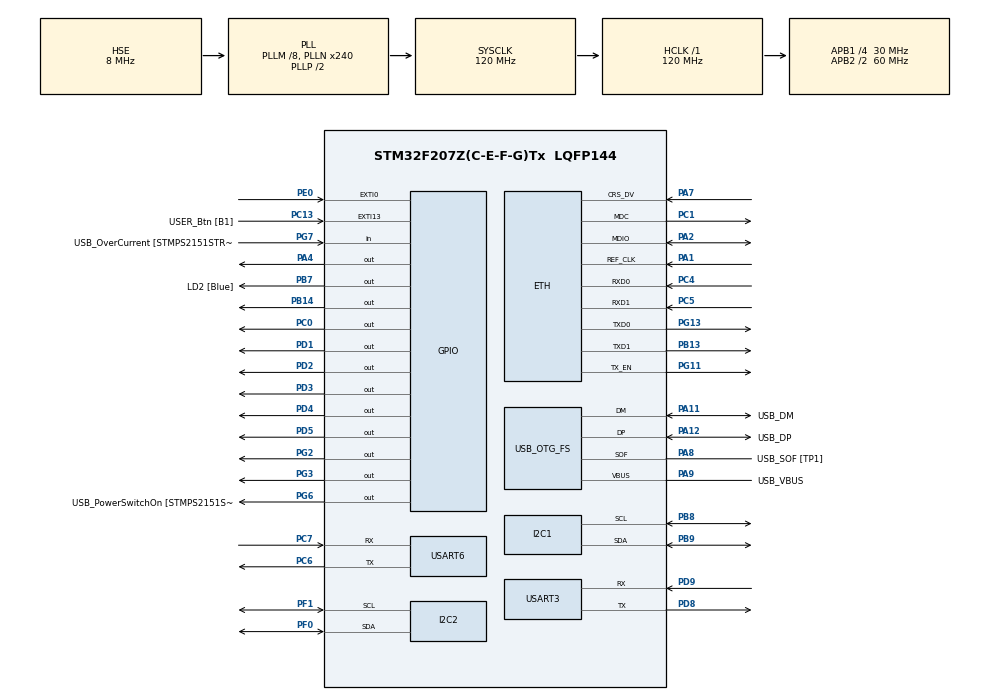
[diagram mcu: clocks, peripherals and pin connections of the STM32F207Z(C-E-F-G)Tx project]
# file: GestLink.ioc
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ETH.MediaInterface=ETH_MEDIA_INTERFACE_RMII
ETH.PhyAddress=0
FREERTOS.Queues01=gestureQueue,10,uint8_t,0,Dynamic,NULL,NULL
FREERTOS.Tasks01=defaultTask,24,128,StartDefaultTask,Default,NULL,Dynamic,NULL,NULL;GestureTask,32,128,StartGestureTask,Default,NULL,Dynamic,NULL,NULL;FeedbackTask,24,512,StartFeedbackTask,Default,NULL,Dynamic,NULL,NULL;ModbusTask,24,128,StartModbusTask,Default,NULL,Dynamic,NULL,NULL;MQTTTask,24,128,StartMQTTTask,Default,NULL,Dynamic,NULL,NULL
FREERTOS.configUSE_NEWLIB_REENTRANT=1
LWIP.GATEWAY_ADDRESS=192.168.002.001
LWIP.IP_ADDRESS=192.168.002.002
LWIP.LWIP_DHCP=1
LWIP.NETMASK_ADDRESS=255.255.255.000
LWIP.RTOS_USE_NEWLIB_REENTRANT=FREERTOS$context\:USE_NEWLIB_REENTRANT
LWIP.Version=v2.0.3_Cube
Mcu.Family=STM32F2
Mcu.Name=STM32F207Z(C-E-F-G)Tx
Mcu.Package=LQFP144
NVIC.ETH_IRQn=true\:7\:0\:true\:false\:true\:true\:true\:true\:true
NVIC.I2C2_ER_IRQn=true\:5\:0\:false\:false\:true\:true\:true\:true\:true
NVIC.PriorityGroup=NVIC_PRIORITYGROUP_4
NVIC.TIM1_UP_TIM10_IRQn=true\:15\:0\:false\:false\:true\:false\:false\:true\:true
NVIC.TimeBase=TIM1_UP_TIM10_IRQn
NVIC.TimeBaseIP=TIM1
NVIC.USART6_IRQn=true\:5\:0\:false\:false\:true\:true\:true\:true\:true
PA1.GPIO_Mode=GPIO_MODE_AF_PP
PA1.GPIO_PuPd=GPIO_NOPULL
PA1.GPIO_Speed=GPIO_SPEED_FREQ_VERY_HIGH
PA1.Mode=RMII
PA1.Signal=ETH_REF_CLK
PA10.GPIO_Label=USB_ID
PA10.Signal=USB_OTG_FS_ID
PA11.GPIO_Label=USB_DM
PA11.Mode=Device_Only
PA11.Signal=USB_OTG_FS_DM
PA12.GPIO_Label=USB_DP
PA12.Mode=Device_Only
PA12.Signal=USB_OTG_FS_DP
PA13.GPIO_Label=TMS
PA13.Mode=Serial_Wire
PA13.Signal=SYS_JTMS-SWDIO
PA14.GPIO_Label=TCK
PA14.Mode=Serial_Wire
PA14.Signal=SYS_JTCK-SWCLK
PA2.GPIO_Mode=GPIO_MODE_AF_PP
PA2.GPIO_PuPd=GPIO_NOPULL
PA2.GPIO_Speed=GPIO_SPEED_FREQ_VERY_HIGH
PA2.Mode=RMII
PA2.Signal=ETH_MDIO
PA3.Signal=ETH_COL
PA4.Signal=GPIO_Output
PA7.GPIO_Mode=GPIO_MODE_AF_PP
PA7.GPIO_PuPd=GPIO_NOPULL
PA7.GPIO_Speed=GPIO_SPEED_FREQ_VERY_HIGH
PA7.Mode=RMII
PA7.Signal=ETH_CRS_DV
PA8.GPIO_Label=USB_SOF [TP1]
PA8.Mode=Activate_SOF_FS
PA8.Signal=USB_OTG_FS_SOF
PA9.GPIO_Label=USB_VBUS
PA9.Mode=Activate_VBUS
PA9.Signal=USB_OTG_FS_VBUS
PB13.GPIO_Mode=GPIO_MODE_AF_PP
PB13.GPIO_PuPd=GPIO_NOPULL
PB13.GPIO_Speed=GPIO_SPEED_FREQ_VERY_HIGH
PB13.Mode=RMII
PB13.Signal=ETH_TXD1
PB14.Signal=GPIO_Output
PB3.GPIO_Label=SWO
PB3.Signal=SYS_JTDO-SWO
PB7.GPIO_Label=LD2 [Blue]
PB7.Signal=GPIO_Output
PB8.GPIO_Mode=GPIO_MODE_AF_OD
PB8.GPIO_Pu=GPIO_PULLUP
PB8.GPIO_Speed=GPIO_SPEED_FREQ_VERY_HIGH
PB8.Mode=I2C
PB8.Signal=I2C1_SCL
PB9.GPIO_Pu=GPIO_PULLUP
PB9.Mode=I2C
PB9.Signal=I2C1_SDA
PC0.Signal=GPIO_Output
PC1.GPIO_Mode=GPIO_MODE_AF_PP
PC1.GPIO_PuPd=GPIO_NOPULL
PC1.GPIO_Speed=GPIO_SPEED_FREQ_VERY_HIGH
PC1.Mode=RMII
PC1.Signal=ETH_MDC
PC13.GPIO_Label=USER_Btn [B1]
PC13.Signal=GPXTI13
PC14-OSC32_IN.Mode=LSE-External-Oscillator
PC14-OSC32_IN.Signal=RCC_OSC32_IN
PC15-OSC32_OUT.Mode=LSE-External-Oscillator
PC15-OSC32_OUT.Signal=RCC_OSC32_OUT
PC2.Signal=ETH_TXD2
PC3.Signal=ETH_TX_CLK
PC4.GPIO_Mode=GPIO_MODE_AF_PP
PC4.GPIO_PuPd=GPIO_NOPULL
PC4.GPIO_Speed=GPIO_SPEED_FREQ_VERY_HIGH
PC4.Mode=RMII
PC4.Signal=ETH_RXD0
PC5.GPIO_Mode=GPIO_MODE_AF_PP
PC5.GPIO_PuPd=GPIO_NOPULL
PC5.GPIO_Speed=GPIO_SPEED_FREQ_VERY_HIGH
PC5.Mode=RMII
PC5.Signal=ETH_RXD1
PC6.Mode=Asynchronous
PC6.Signal=USART6_TX
PC7.Mode=Asynchronous
PC7.Signal=USART6_RX
PD1.Signal=GPIO_Output
PD2.Signal=GPIO_Output
PD3.Signal=GPIO_Output
PD4.Signal=GPIO_Output
PD5.Signal=GPIO_Output
PD8.GPIO_ModeDefaultPP=GPIO_MODE_AF_PP
PD8.GPIO_PuPd=GPIO_NOPULL
PD8.GPIO_Speed=GPIO_SPEED_FREQ_VERY_HIGH
PD8.Mode=Asynchronous
PD8.Signal=USART3_TX
PD9.GPIO_ModeDefaultPP=GPIO_MODE_AF_PP
PD9.GPIO_PuPd=GPIO_NOPULL
PD9.GPIO_Speed=GPIO_SPEED_FREQ_VERY_HIGH
PD9.Mode=Asynchronous
PD9.Signal=USART3_RX
PE0.GPIO_ModeDefaultEXTI=GPIO_MODE_IT_FALLING
PE0.Signal=GPXTI0
PF0.Mode=I2C
PF0.Signal=I2C2_SDA
PF1.Mode=I2C
PF1.Signal=I2C2_SCL
PG11.GPIO_Mode=GPIO_MODE_AF_PP
PG11.GPIO_PuPd=GPIO_NOPULL
PG11.GPIO_Speed=GPIO_SPEED_FREQ_VERY_HIGH
PG11.Mode=RMII
PG11.Signal=ETH_TX_EN
PG13.GPIO_Mode=GPIO_MODE_AF_PP
PG13.GPIO_PuPd=GPIO_NOPULL
PG13.GPIO_Speed=GPIO_SPEED_FREQ_VERY_HIGH
PG13.Mode=RMII
PG13.Signal=ETH_TXD0
PG2.Signal=GPIO_Output
PG3.Signal=GPIO_Output
PG6.GPIO_Label=USB_PowerSwitchOn [STMPS2151STR_EN]
PG6.Signal=GPIO_Output
PG7.GPIO_Label=USB_OverCurrent [STMPS2151STR_FAULT]
PG7.Signal=GPIO_Input
PH0-OSC_IN.GPIO_Label=MCO [STM32F103CBT6_PA8]
PH0-OSC_IN.Mode=HSE-External-Clock-Source
PH0-OSC_IN.Signal=RCC_OSC_IN
PH1-OSC_OUT.Mode=HSE-External-Clock-Source
PH1-OSC_OUT.Signal=RCC_OSC_OUT
ProjectManager.HeapSize=0x200
ProjectManager.StackSize=0x400
ProjectManager.TargetToolchain=STM32CubeIDE
RCC.48MHZClocksFreq_Value=48000000
RCC.AHBFreq_Value=120000000
RCC.APB1CLKDivider=RCC_HCLK_DIV4
RCC.APB1Freq_Value=30000000
RCC.APB1TimFreq_Value=60000000
RCC.APB2CLKDivider=RCC_HCLK_DIV2
RCC.APB2Freq_Value=60000000
RCC.APB2TimFreq_Value=120000000
RCC.CortexFreq_Value=120000000
RCC.HCLKFreq_Value=120000000
RCC.HSE_VALUE=8000000
RCC.HSI_VALUE=16000000
RCC.PLLM=8
RCC.PLLMUL=RCC_PLL_MUL9
RCC.PLLN=240
RCC.PLLQ=5
RCC.PLLSourceVirtual=RCC_PLLSOURCE_HSE
RCC.PRESCALERUSB=RCC_USBCLKSOURCE_PLL_DIV1_5
RCC.SYSCLKFreq_VALUE=120000000
RCC.SYSCLKSource=RCC_SYSCLKSOURCE_PLLCLK
RCC.SYSCLKSourceVirtual=RCC_SYSCLKSOURCE_PLLCLK
RCC.USBFreq_Value=48000000
RCC.VCOOutputFreq_Value=240000000
USART3.VirtualMode=VM_ASYNC
USART6.VirtualMode=VM_ASYNC
USB_OTG_FS.VirtualMode=Device_Only
VP_FREERTOS_VS_CMSIS_V2.Mode=CMSIS_V2
VP_LWIP_VS_Enabled.Mode=Enabled
VP_SYS_VS_tim1.Mode=TIM1
board=NUCLEO-F207ZG

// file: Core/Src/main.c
/* USER CODE BEGIN Header */
/**
  ******************************************************************************
  * @file           : main.c
  * @brief          : Main program body
  ******************************************************************************
  * @attention
  *
  * Copyright (c) 2025 STMicroelectronics.
  * All rights reserved.
  *
  * This software is licensed under terms that can be found in the LICENSE file
  * in the root directory of this software component.
  * If no LICENSE file comes with this software, it is provided AS-IS.
  *
  ******************************************************************************
  */
/* USER CODE END Header */
#include "main.h"
#include "cmsis_os.h"
#include "lwip.h"

/* USER CODE BEGIN Includes */
#include<stdio.h>
#include "gesture_utility.h"
#include "paj7660.h"
#include "paj7660_thumb.h"
#include "tcp_echo_server.h"
#include "debug_macros.h"
#include "modbus_rtu.h"
#include "mqtt_transport.h"
#include "lwip/sockets.h"
#include "lwip/netif.h"
/* USER CODE END Includes */

I2C_HandleTypeDef hi2c1;
I2C_HandleTypeDef hi2c2;

UART_HandleTypeDef huart3;
UART_HandleTypeDef huart6;

PCD_HandleTypeDef hpcd_USB_OTG_FS;

/* Definitions for defaultTask */
osThreadId_t defaultTaskHandle;
const osThreadAttr_t defaultTask_attributes = {
  .name = "defaultTask",
  .stack_size = 512 * 4,
  .priority = (osPriority_t) osPriorityNormal,
};
/* Definitions for GestureTask */
osThreadId_t GestureTaskHandle;
const osThreadAttr_t GestureTask_attributes = {
  .name = "GestureTask",
  .stack_size = 128 * 4,
  .priority = (osPriority_t) osPriorityAboveNormal,
};
/* Definitions for FeedbackTask */
osThreadId_t FeedbackTaskHandle;
const osThreadAttr_t FeedbackTask_attributes = {
  .name = "FeedbackTask",
  .stack_size = 512 * 4,
  .priority = (osPriority_t) osPriorityNormal,
};
/* Definitions for ModbusTask */
osThreadId_t ModbusTaskHandle;
const osThreadAttr_t ModbusTask_attributes = {
  .name = "ModbusTask",
  .stack_size = 128 * 4,
  .priority = (osPriority_t) osPriorityNormal,
};
/* Definitions for MQTTTask */
osThreadId_t MQTTTaskHandle;
const osThreadAttr_t MQTTTask_attributes = {
  .name = "MQTTTask",
  .stack_size = 512 * 4,
  .priority = (osPriority_t) osPriorityNormal,
};
/* Definitions for gestureQueue */
osMessageQueueId_t gestureQueueHandle;
const osMessageQueueAttr_t gestureQueue_attributes = {
  .name = "gestureQueue"
};
/* USER CODE BEGIN PV */
osMessageQueueId_t modbusQueueHandle;
osMessageQueueId_t mqttQueueHandle;
extern struct netif gnetif;
/* USER CODE END PV */

void SystemClock_Config(void);
static void MX_GPIO_Init(void);
static void MX_USART3_UART_Init(void);
static void MX_USB_OTG_FS_PCD_Init(void);
static void MX_I2C1_Init(void);
static void MX_I2C2_Init(void);
static void MX_USART6_UART_Init(void);
void StartDefaultTask(void *argument);
void StartGestureTask(void *argument);
void StartFeedbackTask(void *argument);
void StartModbusTask(void *argument);
void StartMQTTTask(void *argument);

/* USER CODE BEGIN 0 */
int _write(int file, char *ptr, int len){
	HAL_UART_Transmit(&huart3, (uint8_t *)ptr, len, 100);
	return len;
}
/* USER CODE END 0 */

int main(void)
{

  /* USER CODE BEGIN 1 */
//	char tx_buffer[] = "GestLink UART Debug Test\r\n";
  /* USER CODE END 1 */

  /* MCU Configuration--------------------------------------------------------*/

  /* Reset of all peripherals, Initializes the Flash interface and the Systick. */
  HAL_Init();

  /* Configure the system clock */
  SystemClock_Config();

  /* Initialize all configured peripherals */
  MX_GPIO_Init();
  MX_USART3_UART_Init();
  MX_USB_OTG_FS_PCD_Init();
  MX_I2C1_Init();
  MX_I2C2_Init();
  MX_USART6_UART_Init();
  /* USER CODE BEGIN 2 */
  TCP_Echo_Init();
  HAL_Delay(2000);
  if (PAJ7660_Init(&hi2c2)) {
	  DEBUG_LOG(LOG_LEVEL_USER, "Gesture Sensor Status: Initialized successfully.");
  }
  else{
	  DEBUG_LOG(LOG_LEVEL_ERROR, "Gesture Sensor Status: Initialization FAILED.");
  }
  printf("System Initialized. Starting RTOS Scheduler...\r\n");
 // volatile uint8_t gesture;
  /* USER CODE END 2 */

  /* Init scheduler */
  osKernelInitialize();

  /* Create the queue(s) */
  /* creation of gestureQueue */
  gestureQueueHandle = osMessageQueueNew (10, sizeof(uint8_t), &gestureQueue_attributes);

  /* USER CODE BEGIN RTOS_QUEUES */
  /* add queues, ... */
  mqttQueueHandle = osMessageQueueNew(10, sizeof(uint8_t), NULL);
  modbusQueueHandle = osMessageQueueNew(10, sizeof(uint8_t), NULL);
  /* USER CODE END RTOS_QUEUES */

  /* Create the thread(s) */
  /* creation of defaultTask */
  defaultTaskHandle = osThreadNew(StartDefaultTask, NULL, &defaultTask_attributes);

  /* creation of GestureTask */
  GestureTaskHandle = osThreadNew(StartGestureTask, NULL, &GestureTask_attributes);

  /* creation of FeedbackTask */
  FeedbackTaskHandle = osThreadNew(StartFeedbackTask, NULL, &FeedbackTask_attributes);

  /* creation of ModbusTask */
//  ModbusTaskHandle = osThreadNew(StartModbusTask, NULL, &ModbusTask_attributes);

  /* creation of MQTTTask */
  MQTTTaskHandle = osThreadNew(StartMQTTTask, NULL, &MQTTTask_attributes);

  /* Start scheduler */
  osKernelStart();

  /* We should never get here as control is now taken by the scheduler */

  /* Infinite loop */
  /* USER CODE BEGIN WHILE */
  while (1)
  {
	 // MX_LWIP_Process();
//	  gesture = PAJ7660_PollGesture();
//	  if(gesture != GESTURE_NONE){
//			  printf("Gesture code: %d\r\n", gesture);
//		  switch(gesture){
//			  case GESTURE_1_FINGER:
//				  gesture_feedback(GESTURE_1_FINGER);
//				  break;
//			  case GESTURE_2_FINGER:
//				  gesture_feedback(GESTURE_2_FINGER);
//				  break;
//			  case GESTURE_3_FINGER:
//				  gesture_feedback(GESTURE_3_FINGER);
//				  break;
//			  case GESTURE_4_FINGER:
//				  gesture_feedback(GESTURE_4_FINGER);
//				  break;
//			  case GESTURE_5_FINGER:
//				  gesture_feedback(GESTURE_5_FINGER);
//				  break;
//			  case GESTURE_LEFT:
//				  gesture_feedback(GESTURE_LEFT);
//				  break;
//			  case GESTURE_RIGHT:
//				  gesture_feedback(GESTURE_RIGHT);
//				  break;
//			  case GESTURE_CW:
//				  gesture_feedback(GESTURE_CW);
//				  break;
//			  case GESTURE_CCW:
//				  gesture_feedback(GESTURE_CCW);
//				  break;
////				  case FINGER_1_PUSH:
////					  PAJ7660_SetGestureMode(MODE_THUMB);
////					  break;
//			  default:
//				  gesture_feedback(31);
//				  break;
//		  }
//	  }
////	  else if(gesture_mode == MODE_THUMB){
////		  ThumbState_t thumb = PAJ7660_ReadThumbState(&hi2c1);
////		  switch (thumb) {
////		          case THUMB_UP:
////		              printf("Thumb Status: UP\r\n");
////		              gesture_feedback(GESTURE_THUMB_UP); // Your custom feedback function
////		              break;
////
////		          case THUMB_DOWN:
////		              printf("Thumb Status: DOWN\r\n");
////		              gesture_feedback(GESTURE_THUMB_DOWN);
////		              break;
////
////		          case THUMB_NONE:
////		              // No thumb detected, keep polling
////		              break;
////
////		          case THUMB_ERROR:
////		              // Handle I2C error (e.g., reset sensor or blink LED red)
////		              printf("Sensor Error!\r\n");
////		              break;
////		  }
////	  }
//	  HAL_Delay(150);
//
//
    /* USER CODE END WHILE */

    /* USER CODE BEGIN 3 */
//	  uint8_t current_gesture_id = read_gesture_id(); // You will implement this later
//
//	      if (current_gesture_id != 0) // Only update feedback if a new gesture is detected
//	      {
//	          gesture_feedback(current_gesture_id);
//	      }
//
//	      HAL_Delay(500);
  }
  /* USER CODE END 3 */
}

void SystemClock_Config(void)
{
  RCC_OscInitTypeDef RCC_OscInitStruct = {0};
  RCC_ClkInitTypeDef RCC_ClkInitStruct = {0};

  /** Initializes the RCC Oscillators according to the specified parameters
  * in the RCC_OscInitTypeDef structure.
  */
  RCC_OscInitStruct.OscillatorType = RCC_OSCILLATORTYPE_HSE;
  RCC_OscInitStruct.HSEState = RCC_HSE_BYPASS;
  RCC_OscInitStruct.PLL.PLLState = RCC_PLL_ON;
  RCC_OscInitStruct.PLL.PLLSource = RCC_PLLSOURCE_HSE;
  RCC_OscInitStruct.PLL.PLLM = 8;
  RCC_OscInitStruct.PLL.PLLN = 240;
  RCC_OscInitStruct.PLL.PLLP = RCC_PLLP_DIV2;
  RCC_OscInitStruct.PLL.PLLQ = 5;
  if (HAL_RCC_OscConfig(&RCC_OscInitStruct) != HAL_OK)
  {
    Error_Handler();
  }

  /** Initializes the CPU, AHB and APB buses clocks
  */
  RCC_ClkInitStruct.ClockType = RCC_CLOCKTYPE_HCLK|RCC_CLOCKTYPE_SYSCLK
                              |RCC_CLOCKTYPE_PCLK1|RCC_CLOCKTYPE_PCLK2;
  RCC_ClkInitStruct.SYSCLKSource = RCC_SYSCLKSOURCE_PLLCLK;
  RCC_ClkInitStruct.AHBCLKDivider = RCC_SYSCLK_DIV1;
  RCC_ClkInitStruct.APB1CLKDivider = RCC_HCLK_DIV4;
  RCC_ClkInitStruct.APB2CLKDivider = RCC_HCLK_DIV2;

  if (HAL_RCC_ClockConfig(&RCC_ClkInitStruct, FLASH_LATENCY_3) != HAL_OK)
  {
    Error_Handler();
  }
}

static void MX_I2C1_Init(void)
{

  /* USER CODE BEGIN I2C1_Init 0 */
//
  /* USER CODE END I2C1_Init 0 */

  /* USER CODE BEGIN I2C1_Init 1 */
//
  /* USER CODE END I2C1_Init 1 */
  hi2c1.Instance = I2C1;
  hi2c1.Init.ClockSpeed = 100000;
  hi2c1.Init.DutyCycle = I2C_DUTYCYCLE_2;
  hi2c1.Init.OwnAddress1 = 0;
  hi2c1.Init.AddressingMode = I2C_ADDRESSINGMODE_7BIT;
  hi2c1.Init.DualAddressMode = I2C_DUALADDRESS_DISABLE;
  hi2c1.Init.OwnAddress2 = 0;
  hi2c1.Init.GeneralCallMode = I2C_GENERALCALL_DISABLE;
  hi2c1.Init.NoStretchMode = I2C_NOSTRETCH_DISABLE;
  if (HAL_I2C_Init(&hi2c1) != HAL_OK)
  {
    Error_Handler();
  }
  /* USER CODE BEGIN I2C1_Init 2 */
//
  /* USER CODE END I2C1_Init 2 */

}

static void MX_I2C2_Init(void)
{

  hi2c2.Instance = I2C2;
  hi2c2.Init.ClockSpeed = 100000;
  hi2c2.Init.DutyCycle = I2C_DUTYCYCLE_2;
  hi2c2.Init.OwnAddress1 = 0;
  hi2c2.Init.AddressingMode = I2C_ADDRESSINGMODE_7BIT;
  hi2c2.Init.DualAddressMode = I2C_DUALADDRESS_DISABLE;
  hi2c2.Init.OwnAddress2 = 0;
  hi2c2.Init.GeneralCallMode = I2C_GENERALCALL_DISABLE;
  hi2c2.Init.NoStretchMode = I2C_NOSTRETCH_DISABLE;
  if (HAL_I2C_Init(&hi2c2) != HAL_OK)
  {
    Error_Handler();
  }

}

static void MX_USART3_UART_Init(void)
{

  huart3.Instance = USART3;
  huart3.Init.BaudRate = 115200;
  huart3.Init.WordLength = UART_WORDLENGTH_8B;
  huart3.Init.StopBits = UART_STOPBITS_1;
  huart3.Init.Parity = UART_PARITY_NONE;
  huart3.Init.Mode = UART_MODE_TX_RX;
  huart3.Init.HwFlowCtl = UART_HWCONTROL_NONE;
  huart3.Init.OverSampling = UART_OVERSAMPLING_16;
  if (HAL_UART_Init(&huart3) != HAL_OK)
  {
    Error_Handler();
  }

}

static void MX_USART6_UART_Init(void)
{

  huart6.Instance = USART6;
  huart6.Init.BaudRate = 115200;
  huart6.Init.WordLength = UART_WORDLENGTH_8B;
  huart6.Init.StopBits = UART_STOPBITS_1;
  huart6.Init.Parity = UART_PARITY_NONE;
  huart6.Init.Mode = UART_MODE_TX_RX;
  huart6.Init.HwFlowCtl = UART_HWCONTROL_NONE;
  huart6.Init.OverSampling = UART_OVERSAMPLING_16;
  if (HAL_UART_Init(&huart6) != HAL_OK)
  {
    Error_Handler();
  }

}

static void MX_USB_OTG_FS_PCD_Init(void)
{

  /* USER CODE BEGIN USB_OTG_FS_Init 0 */
//
  /* USER CODE END USB_OTG_FS_Init 0 */

  /* USER CODE BEGIN USB_OTG_FS_Init 1 */
//
  /* USER CODE END USB_OTG_FS_Init 1 */
  hpcd_USB_OTG_FS.Instance = USB_OTG_FS;
  hpcd_USB_OTG_FS.Init.dev_endpoints = 4;
  hpcd_USB_OTG_FS.Init.speed = PCD_SPEED_FULL;
  hpcd_USB_OTG_FS.Init.dma_enable = DISABLE;
  hpcd_USB_OTG_FS.Init.phy_itface = PCD_PHY_EMBEDDED;
  hpcd_USB_OTG_FS.Init.Sof_enable = ENABLE;
  hpcd_USB_OTG_FS.Init.low_power_enable = DISABLE;
  hpcd_USB_OTG_FS.Init.vbus_sensing_enable = ENABLE;
  hpcd_USB_OTG_FS.Init.use_dedicated_ep1 = DISABLE;
  if (HAL_PCD_Init(&hpcd_USB_OTG_FS) != HAL_OK)
  {
    Error_Handler();
  }
  /* USER CODE BEGIN USB_OTG_FS_Init 2 */
//
  /* USER CODE END USB_OTG_FS_Init 2 */

}

static void MX_GPIO_Init(void)
{
  GPIO_InitTypeDef GPIO_InitStruct = {0};

  /* GPIO Ports Clock Enable */
  __HAL_RCC_GPIOC_CLK_ENABLE();
  __HAL_RCC_GPIOF_CLK_ENABLE();
  __HAL_RCC_GPIOH_CLK_ENABLE();
  __HAL_RCC_GPIOA_CLK_ENABLE();
  __HAL_RCC_GPIOB_CLK_ENABLE();
  __HAL_RCC_GPIOD_CLK_ENABLE();
  __HAL_RCC_GPIOG_CLK_ENABLE();
  __HAL_RCC_GPIOE_CLK_ENABLE();

  /*Configure GPIO pin Output Level */
  HAL_GPIO_WritePin(GPIOC, GPIO_PIN_0, GPIO_PIN_RESET);

  /*Configure GPIO pin Output Level */
  HAL_GPIO_WritePin(GPIOA, GPIO_PIN_4, GPIO_PIN_RESET);

  /*Configure GPIO pin Output Level */
  HAL_GPIO_WritePin(GPIOB, GPIO_PIN_14|LD2_Pin, GPIO_PIN_RESET);

  /*Configure GPIO pin Output Level */
  HAL_GPIO_WritePin(GPIOG, GPIO_PIN_2|GPIO_PIN_3|USB_PowerSwitchOn_Pin, GPIO_PIN_RESET);

  /*Configure GPIO pin Output Level */
  HAL_GPIO_WritePin(GPIOD, GPIO_PIN_1|GPIO_PIN_2|GPIO_PIN_3|GPIO_PIN_4
                          |GPIO_PIN_5, GPIO_PIN_RESET);

  /*Configure GPIO pin : USER_Btn_Pin */
  GPIO_InitStruct.Pin = USER_Btn_Pin;
  GPIO_InitStruct.Mode = GPIO_MODE_IT_RISING;
  GPIO_InitStruct.Pull = GPIO_NOPULL;
  HAL_GPIO_Init(USER_Btn_GPIO_Port, &GPIO_InitStruct);

  /*Configure GPIO pin : PC0 */
  GPIO_InitStruct.Pin = GPIO_PIN_0;
  GPIO_InitStruct.Mode = GPIO_MODE_OUTPUT_PP;
  GPIO_InitStruct.Pull = GPIO_NOPULL;
  GPIO_InitStruct.Speed = GPIO_SPEED_FREQ_LOW;
  HAL_GPIO_Init(GPIOC, &GPIO_InitStruct);

  /*Configure GPIO pin : PA4 */
  GPIO_InitStruct.Pin = GPIO_PIN_4;
  GPIO_InitStruct.Mode = GPIO_MODE_OUTPUT_PP;
  GPIO_InitStruct.Pull = GPIO_NOPULL;
  GPIO_InitStruct.Speed = GPIO_SPEED_FREQ_LOW;
  HAL_GPIO_Init(GPIOA, &GPIO_InitStruct);

  /*Configure GPIO pins : PB14 LD2_Pin */
  GPIO_InitStruct.Pin = GPIO_PIN_14|LD2_Pin;
  GPIO_InitStruct.Mode = GPIO_MODE_OUTPUT_PP;
  GPIO_InitStruct.Pull = GPIO_NOPULL;
  GPIO_InitStruct.Speed = GPIO_SPEED_FREQ_LOW;
  HAL_GPIO_Init(GPIOB, &GPIO_InitStruct);

  /*Configure GPIO pins : PG2 PG3 USB_PowerSwitchOn_Pin */
  GPIO_InitStruct.Pin = GPIO_PIN_2|GPIO_PIN_3|USB_PowerSwitchOn_Pin;
  GPIO_InitStruct.Mode = GPIO_MODE_OUTPUT_PP;
  GPIO_InitStruct.Pull = GPIO_NOPULL;
  GPIO_InitStruct.Speed = GPIO_SPEED_FREQ_LOW;
  HAL_GPIO_Init(GPIOG, &GPIO_InitStruct);

  /*Configure GPIO pin : USB_OverCurrent_Pin */
  GPIO_InitStruct.Pin = USB_OverCurrent_Pin;
  GPIO_InitStruct.Mode = GPIO_MODE_INPUT;
  GPIO_InitStruct.Pull = GPIO_NOPULL;
  HAL_GPIO_Init(USB_OverCurrent_GPIO_Port, &GPIO_InitStruct);

  /*Configure GPIO pins : PD1 PD2 PD3 PD4
                           PD5 */
  GPIO_InitStruct.Pin = GPIO_PIN_1|GPIO_PIN_2|GPIO_PIN_3|GPIO_PIN_4
                          |GPIO_PIN_5;
  GPIO_InitStruct.Mode = GPIO_MODE_OUTPUT_PP;
  GPIO_InitStruct.Pull = GPIO_NOPULL;
  GPIO_InitStruct.Speed = GPIO_SPEED_FREQ_LOW;
  HAL_GPIO_Init(GPIOD, &GPIO_InitStruct);

  /*Configure GPIO pin : PE0 */
  GPIO_InitStruct.Pin = GPIO_PIN_0;
  GPIO_InitStruct.Mode = GPIO_MODE_IT_FALLING;
  GPIO_InitStruct.Pull = GPIO_NOPULL;
  HAL_GPIO_Init(GPIOE, &GPIO_InitStruct);

}

/* USER CODE BEGIN 4 */
void check_eth_link_status(void){
	uint32_t phy_reg_val;
	HAL_ETH_ReadPHYRegister(&heth, LAN8742A_PHY_ADDRESS, &phy_reg_val);

	if (phy_reg_val & 0x0004){
		DEBUG_LOG(LOG_LEVEL_INFO, "ETH link Status: UP");
	}
	else{
		DEBUG_LOG(LOG_LEVEL_WARN, "ETH link Status: DOWN");
	}
}
/* USER CODE END 4 */

void StartDefaultTask(void *argument)
{
  /* init code for LWIP */
  MX_LWIP_Init();
  /* USER CODE BEGIN 5 */
  /* Infinite loop */
  for(;;)
  {
    osDelay(1000);
  }
  /* USER CODE END 5 */
}

void StartGestureTask(void *argument)
{
  /* USER CODE BEGIN StartGestureTask */
  uint8_t current_gesture;
  for(;;) {
	osDelay(150);
    current_gesture = PAJ7660_PollGesture();
    mb_regs.raw_sensor_data = current_gesture;  // Update Modbus register

    // Only send to queue if it's a valid gesture (not 0 and not 31)
    if (current_gesture != GESTURE_NONE && current_gesture != 31) {
        printf("Gesture Detected: %d\r\n", current_gesture);
        mb_regs.last_gesture = current_gesture;  // Update Modbus register
        osMessageQueuePut(gestureQueueHandle, &current_gesture, 0, 0);
        osMessageQueuePut(mqttQueueHandle, &current_gesture, 0, 0);    // MQTT
        osMessageQueuePut(modbusQueueHandle, &current_gesture, 0, 0);  // Modbus
    }
    osDelay(150);
  }
  /* USER CODE END StartGestureTask */
}

void StartFeedbackTask(void *argument)
{
  /* USER CODE BEGIN StartFeedbackTask */
  uint8_t receivedGesture;
  for(;;)
  {
    // This task will block (wait) until a gesture ID is available in the queue
    if (osMessageQueueGet(gestureQueueHandle, &receivedGesture, NULL, osWaitForever) == osOK)
    {
       printf("Feedback Task: Processing gesture %d\r\n", receivedGesture);
       gesture_feedback(receivedGesture);
       // The task then loops back and waits for the next one
    }
  }
  /* USER CODE END StartFeedbackTask */
}

void StartModbusTask(void *argument)
{
  /* USER CODE BEGIN StartModbusTask */
  uint8_t rx_data[8];
  uint8_t tx_data[256];
  uint8_t gestureFromQueue;

  for(;;)
  {
	  // IPC: Check for new data from Gesture Task
	      if (osMessageQueueGet(modbusQueueHandle, &gestureFromQueue, NULL, 0) == osOK) {
	          mb_regs.last_gesture = gestureFromQueue;
	          printf("Modbus IPC: Updated Register with Gesture %d\r\n", gestureFromQueue);
	      }
	  __HAL_UART_CLEAR_OREFLAG(&huart6);
	  __HAL_UART_CLEAR_NEFLAG(&huart6);
	  __HAL_UART_CLEAR_FEFLAG(&huart6);
    // Receive 8 bytes with a 50ms timeout
    if (HAL_UART_Receive(&huart6, rx_data, 8, 100) == HAL_OK)
    {
    	HAL_GPIO_TogglePin(GPIOB, LD2_Pin);
      // The function now handles slave_id check and CRC internally
    	uint16_t response_len = Modbus_ProcessRequest(rx_data, tx_data, 8);

      if (response_len > 0)
      {
        HAL_UART_Transmit(&huart6, tx_data, response_len, 100);
      }
    }
    osDelay(10); // yield for RTOS
  }
  /* USER CODE END StartModbusTask */
}

void StartMQTTTask(void *argument)
{
  /* USER CODE BEGIN StartMQTTTask */
  uint8_t gesture_id;
  uint32_t keepalive_timer = 0;

  printf("[MQTT] Task Started. Waiting for network...\r\n");

  /* Wait for LwIP to initialize */
  while (!netif_is_up(&gnetif)) {
    osDelay(100);
  }
  printf("[MQTT] LwIP netif is UP.\r\n");

  /* Wait for link */
  while (!netif_is_link_up(&gnetif)) {
    osDelay(100);
  }
  printf("[MQTT] Ethernet link is UP.\r\n");

  for(;;) {
    /* Wait for valid IP (DHCP) */
    if (gnetif.ip_addr.addr == 0) {
      printf("[MQTT] Waiting for DHCP...\r\n");
      osDelay(1000);
      continue;
    }

    /* Connect to broker if not connected */
    if (!gestlink_mqtt_is_connected()) {
      printf("[MQTT] IP: %lu.%lu.%lu.%lu\r\n",
             (gnetif.ip_addr.addr) & 0xFF,
             (gnetif.ip_addr.addr >> 8) & 0xFF,
             (gnetif.ip_addr.addr >> 16) & 0xFF,
             (gnetif.ip_addr.addr >> 24) & 0xFF);

      if (gestlink_mqtt_connect() != MQTT_OK) {
        osDelay(5000);  /* Wait before retry */
        continue;
      }
      keepalive_timer = 0;
    }

    /* Check for gesture from queue (100ms timeout) */
    if (osMessageQueueGet(mqttQueueHandle, &gesture_id, NULL, 100) == osOK) {
      if (gestlink_mqtt_publish_gesture(gesture_id) != MQTT_OK) {
        /* Publish failed, will reconnect on next iteration */
        continue;
      }
    }

    /* Send keepalive every 30 seconds */
    keepalive_timer += 100;
    if (keepalive_timer >= 30000) {
      gestlink_mqtt_send_keepalive();
      keepalive_timer = 0;
    }
  }
  /* USER CODE END StartMQTTTask */
}

void HAL_TIM_PeriodElapsedCallback(TIM_HandleTypeDef *htim)
{
  if (htim->Instance == TIM1)
  {
    HAL_IncTick();
  }
}

void Error_Handler(void)
{
  __disable_irq();
  while (1)
  {
  }
}
#ifdef USE_FULL_ASSERT
/**
  * @brief  Reports the name of the source file and the source line number
  *         where the assert_param error has occurred.
  * @param  file: pointer to the source file name
  * @param  line: assert_param error line source number
  * @retval None
  */
void assert_failed(uint8_t *file, uint32_t line)
{
  /* USER CODE BEGIN 6 */
//  /* User can add his own implementation to report the file name and line number,
//     ex: printf("Wrong parameters value: file %s on line %d\r\n", file, line) */
  /* USER CODE END 6 */
}
#endif /* USE_FULL_ASSERT */
